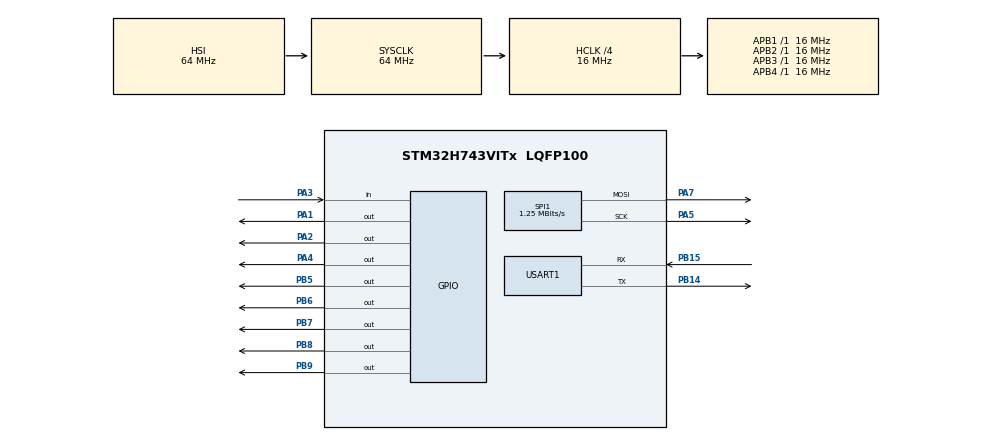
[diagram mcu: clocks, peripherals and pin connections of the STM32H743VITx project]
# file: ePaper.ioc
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CORTEX_M7.default_mode_Activation=1
Mcu.Family=STM32H7
Mcu.Name=STM32H743VITx
Mcu.Package=LQFP100
NVIC.PriorityGroup=NVIC_PRIORITYGROUP_4
PA1.Signal=GPIO_Output
PA2.Signal=GPIO_Output
PA3.Signal=GPIO_Input
PA4.Signal=GPIO_Output
PA5.Mode=TX_Only_Simplex_Unidirect_Master
PA5.Signal=SPI1_SCK
PA7.Mode=TX_Only_Simplex_Unidirect_Master
PA7.Signal=SPI1_MOSI
PB14.Mode=Asynchronous
PB14.Signal=USART1_TX
PB15.Mode=Asynchronous
PB15.Signal=USART1_RX
PB5.Signal=GPIO_Output
PB6.Signal=GPIO_Output
PB7.Signal=GPIO_Output
PB8.Signal=GPIO_Output
PB9.Signal=GPIO_Output
ProjectManager.HeapSize=0x200
ProjectManager.StackSize=0x400
ProjectManager.TargetToolchain=STM32CubeIDE
RCC.ADCFreq_Value=129000000
RCC.APB1Freq_Value=16000000
RCC.APB2Freq_Value=16000000
RCC.APB3Freq_Value=16000000
RCC.APB4Freq_Value=16000000
RCC.CortexFreq_Value=16000000
RCC.D1CPRE=RCC_SYSCLK_DIV4
RCC.DIVM1=4
RCC.DIVN1=10
RCC.HCLKFreq_Value=16000000
RCC.PLL1_VCI_Range=RCC_PLL1VCIRANGE_3
RCC.PLLFRACN=0
RCC.PREFETCH_ENABLE=1
RCC.SYSCLKFreq_VALUE=64000000
RCC.USBFreq_Value=80000000
SPI1.BaudRatePrescaler=SPI_BAUDRATEPRESCALER_64
SPI1.CalculateBaudRate=1.25 MBits/s
SPI1.DataSize=SPI_DATASIZE_8BIT
SPI1.Direction=SPI_DIRECTION_2LINES_TXONLY
SPI1.Mode=SPI_MODE_MASTER
SPI1.VirtualType=VM_MASTER
USART1.VirtualMode-Asynchronous=VM_ASYNC
VP_MEMORYMAP_VS_MEMORYMAP.Mode=CurAppReg
board=custom

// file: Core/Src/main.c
/* USER CODE BEGIN Header */
/**
  ******************************************************************************
  * @file           : main.c
  * @brief          : Main program body
  ******************************************************************************
  * @attention
  *
  * Copyright (c) 2024 STMicroelectronics.
  * All rights reserved.
  *
  * This software is licensed under terms that can be found in the LICENSE file
  * in the root directory of this software component.
  * If no LICENSE file comes with this software, it is provided AS-IS.
  *
  ******************************************************************************
  */
/* USER CODE END Header */
#include "main.h"

/* USER CODE BEGIN Includes */
#include "../User/gfx.h"
#include <stdio.h>

/* USER CODE END Includes */

SPI_HandleTypeDef hspi1;

UART_HandleTypeDef huart1;

void SystemClock_Config(void);
static void MPU_Config(void);
static void MX_GPIO_Init(void);
static void MX_SPI1_Init(void);
static void MX_USART1_UART_Init(void);

int main(void)
{

  /* MPU Configuration--------------------------------------------------------*/
  MPU_Config();

  /* MCU Configuration--------------------------------------------------------*/

  /* Reset of all peripherals, Initializes the Flash interface and the Systick. */
  HAL_Init();

  /* Configure the system clock */
  SystemClock_Config();

  /* Initialize all configured peripherals */
  MX_GPIO_Init();
  MX_SPI1_Init();
  MX_USART1_UART_Init();
  /* USER CODE BEGIN 2 */
  printf("\n\n\n\n---------------\r\nHello World\r\n");

  gfx_init(448, 600);
  gfx_clear();
  test();
  displayFrame();
  printf("Displayed frame\r\n");

  HAL_GPIO_TogglePin(GPIOB, GPIO_PIN_7);
  HAL_Delay(1000);
  HAL_GPIO_TogglePin(GPIOB, GPIO_PIN_7);

  /* USER CODE END 2 */

  /* Infinite loop */
  /* USER CODE BEGIN WHILE */
  while (1) {
    int delay = 50;
    // Toggle LED on PB6
    HAL_GPIO_TogglePin(GPIOB, GPIO_PIN_6);
    HAL_Delay(delay); // 1 second delay

    // Toggle LED on PB8
    HAL_GPIO_TogglePin(GPIOB, GPIO_PIN_8);
    HAL_Delay(delay); // 1 second delay

    // Toggle LED on PB7
    HAL_GPIO_TogglePin(GPIOB, GPIO_PIN_7);
    HAL_Delay(delay); // 1 second delay

    // Toggle LED on PB9
    HAL_GPIO_TogglePin(GPIOB, GPIO_PIN_9);
    HAL_Delay(delay); // 1 second delay
    /* USER CODE END WHILE */

  }
}

void SystemClock_Config(void)
{
  RCC_OscInitTypeDef RCC_OscInitStruct = {0};
  RCC_ClkInitTypeDef RCC_ClkInitStruct = {0};

  /** Supply configuration update enable
  */
  HAL_PWREx_ConfigSupply(PWR_LDO_SUPPLY);

  /** Configure the main internal regulator output voltage
  */
  __HAL_PWR_VOLTAGESCALING_CONFIG(PWR_REGULATOR_VOLTAGE_SCALE3);

  while(!__HAL_PWR_GET_FLAG(PWR_FLAG_VOSRDY)) {}

  /** Initializes the RCC Oscillators according to the specified parameters
  * in the RCC_OscInitTypeDef structure.
  */
  RCC_OscInitStruct.OscillatorType = RCC_OSCILLATORTYPE_HSI;
  RCC_OscInitStruct.HSIState = RCC_HSI_DIV1;
  RCC_OscInitStruct.HSICalibrationValue = RCC_HSICALIBRATION_DEFAULT;
  RCC_OscInitStruct.PLL.PLLState = RCC_PLL_ON;
  RCC_OscInitStruct.PLL.PLLSource = RCC_PLLSOURCE_HSI;
  RCC_OscInitStruct.PLL.PLLM = 4;
  RCC_OscInitStruct.PLL.PLLN = 10;
  RCC_OscInitStruct.PLL.PLLP = 2;
  RCC_OscInitStruct.PLL.PLLQ = 2;
  RCC_OscInitStruct.PLL.PLLR = 2;
  RCC_OscInitStruct.PLL.PLLRGE = RCC_PLL1VCIRANGE_3;
  RCC_OscInitStruct.PLL.PLLVCOSEL = RCC_PLL1VCOMEDIUM;
  RCC_OscInitStruct.PLL.PLLFRACN = 0;
  if (HAL_RCC_OscConfig(&RCC_OscInitStruct) != HAL_OK)
  {
    Error_Handler();
  }

  /** Initializes the CPU, AHB and APB buses clocks
  */
  RCC_ClkInitStruct.ClockType = RCC_CLOCKTYPE_HCLK|RCC_CLOCKTYPE_SYSCLK
                              |RCC_CLOCKTYPE_PCLK1|RCC_CLOCKTYPE_PCLK2
                              |RCC_CLOCKTYPE_D3PCLK1|RCC_CLOCKTYPE_D1PCLK1;
  RCC_ClkInitStruct.SYSCLKSource = RCC_SYSCLKSOURCE_HSI;
  RCC_ClkInitStruct.SYSCLKDivider = RCC_SYSCLK_DIV4;
  RCC_ClkInitStruct.AHBCLKDivider = RCC_HCLK_DIV1;
  RCC_ClkInitStruct.APB3CLKDivider = RCC_APB3_DIV1;
  RCC_ClkInitStruct.APB1CLKDivider = RCC_APB1_DIV1;
  RCC_ClkInitStruct.APB2CLKDivider = RCC_APB2_DIV1;
  RCC_ClkInitStruct.APB4CLKDivider = RCC_APB4_DIV1;

  if (HAL_RCC_ClockConfig(&RCC_ClkInitStruct, FLASH_LATENCY_0) != HAL_OK)
  {
    Error_Handler();
  }
}

static void MX_SPI1_Init(void)
{

  /* SPI1 parameter configuration*/
  hspi1.Instance = SPI1;
  hspi1.Init.Mode = SPI_MODE_MASTER;
  hspi1.Init.Direction = SPI_DIRECTION_2LINES_TXONLY;
  hspi1.Init.DataSize = SPI_DATASIZE_8BIT;
  hspi1.Init.CLKPolarity = SPI_POLARITY_LOW;
  hspi1.Init.CLKPhase = SPI_PHASE_1EDGE;
  hspi1.Init.NSS = SPI_NSS_SOFT;
  hspi1.Init.BaudRatePrescaler = SPI_BAUDRATEPRESCALER_64;
  hspi1.Init.FirstBit = SPI_FIRSTBIT_MSB;
  hspi1.Init.TIMode = SPI_TIMODE_DISABLE;
  hspi1.Init.CRCCalculation = SPI_CRCCALCULATION_DISABLE;
  hspi1.Init.CRCPolynomial = 0x0;
  hspi1.Init.NSSPMode = SPI_NSS_PULSE_ENABLE;
  hspi1.Init.NSSPolarity = SPI_NSS_POLARITY_LOW;
  hspi1.Init.FifoThreshold = SPI_FIFO_THRESHOLD_01DATA;
  hspi1.Init.TxCRCInitializationPattern = SPI_CRC_INITIALIZATION_ALL_ZERO_PATTERN;
  hspi1.Init.RxCRCInitializationPattern = SPI_CRC_INITIALIZATION_ALL_ZERO_PATTERN;
  hspi1.Init.MasterSSIdleness = SPI_MASTER_SS_IDLENESS_00CYCLE;
  hspi1.Init.MasterInterDataIdleness = SPI_MASTER_INTERDATA_IDLENESS_00CYCLE;
  hspi1.Init.MasterReceiverAutoSusp = SPI_MASTER_RX_AUTOSUSP_DISABLE;
  hspi1.Init.MasterKeepIOState = SPI_MASTER_KEEP_IO_STATE_DISABLE;
  hspi1.Init.IOSwap = SPI_IO_SWAP_DISABLE;
  if (HAL_SPI_Init(&hspi1) != HAL_OK)
  {
    Error_Handler();
  }

}

static void MX_USART1_UART_Init(void)
{

  huart1.Instance = USART1;
  huart1.Init.BaudRate = 115200;
  huart1.Init.WordLength = UART_WORDLENGTH_8B;
  huart1.Init.StopBits = UART_STOPBITS_1;
  huart1.Init.Parity = UART_PARITY_NONE;
  huart1.Init.Mode = UART_MODE_TX_RX;
  huart1.Init.HwFlowCtl = UART_HWCONTROL_NONE;
  huart1.Init.OverSampling = UART_OVERSAMPLING_16;
  huart1.Init.OneBitSampling = UART_ONE_BIT_SAMPLE_DISABLE;
  huart1.Init.ClockPrescaler = UART_PRESCALER_DIV1;
  huart1.AdvancedInit.AdvFeatureInit = UART_ADVFEATURE_NO_INIT;
  if (HAL_UART_Init(&huart1) != HAL_OK)
  {
    Error_Handler();
  }
  if (HAL_UARTEx_SetTxFifoThreshold(&huart1, UART_TXFIFO_THRESHOLD_1_8) != HAL_OK)
  {
    Error_Handler();
  }
  if (HAL_UARTEx_SetRxFifoThreshold(&huart1, UART_RXFIFO_THRESHOLD_1_8) != HAL_OK)
  {
    Error_Handler();
  }
  if (HAL_UARTEx_DisableFifoMode(&huart1) != HAL_OK)
  {
    Error_Handler();
  }

}

static void MX_GPIO_Init(void)
{
  GPIO_InitTypeDef GPIO_InitStruct = {0};

  /* GPIO Ports Clock Enable */
  __HAL_RCC_GPIOA_CLK_ENABLE();
  __HAL_RCC_GPIOB_CLK_ENABLE();

  /*Configure GPIO pin Output Level */
  HAL_GPIO_WritePin(GPIOA, GPIO_PIN_1|GPIO_PIN_2|GPIO_PIN_4, GPIO_PIN_RESET);

  /*Configure GPIO pin Output Level */
  HAL_GPIO_WritePin(GPIOB, GPIO_PIN_5|GPIO_PIN_6|GPIO_PIN_7|GPIO_PIN_8
                          |GPIO_PIN_9, GPIO_PIN_RESET);

  /*Configure GPIO pins : PA1 PA2 PA4 */
  GPIO_InitStruct.Pin = GPIO_PIN_1|GPIO_PIN_2|GPIO_PIN_4;
  GPIO_InitStruct.Mode = GPIO_MODE_OUTPUT_PP;
  GPIO_InitStruct.Pull = GPIO_NOPULL;
  GPIO_InitStruct.Speed = GPIO_SPEED_FREQ_LOW;
  HAL_GPIO_Init(GPIOA, &GPIO_InitStruct);

  /*Configure GPIO pin : PA3 */
  GPIO_InitStruct.Pin = GPIO_PIN_3;
  GPIO_InitStruct.Mode = GPIO_MODE_INPUT;
  GPIO_InitStruct.Pull = GPIO_NOPULL;
  HAL_GPIO_Init(GPIOA, &GPIO_InitStruct);

  /*Configure GPIO pins : PB5 PB6 PB7 PB8
                           PB9 */
  GPIO_InitStruct.Pin = GPIO_PIN_5|GPIO_PIN_6|GPIO_PIN_7|GPIO_PIN_8
                          |GPIO_PIN_9;
  GPIO_InitStruct.Mode = GPIO_MODE_OUTPUT_PP;
  GPIO_InitStruct.Pull = GPIO_NOPULL;
  GPIO_InitStruct.Speed = GPIO_SPEED_FREQ_LOW;
  HAL_GPIO_Init(GPIOB, &GPIO_InitStruct);

}

 /* MPU Configuration */

void MPU_Config(void)
{
  MPU_Region_InitTypeDef MPU_InitStruct = {0};

  /* Disables the MPU */
  HAL_MPU_Disable();

  /** Initializes and configures the Region and the memory to be protected
  */
  MPU_InitStruct.Enable = MPU_REGION_ENABLE;
  MPU_InitStruct.Number = MPU_REGION_NUMBER0;
  MPU_InitStruct.BaseAddress = 0x0;
  MPU_InitStruct.Size = MPU_REGION_SIZE_4GB;
  MPU_InitStruct.SubRegionDisable = 0x87;
  MPU_InitStruct.TypeExtField = MPU_TEX_LEVEL0;
  MPU_InitStruct.AccessPermission = MPU_REGION_NO_ACCESS;
  MPU_InitStruct.DisableExec = MPU_INSTRUCTION_ACCESS_DISABLE;
  MPU_InitStruct.IsShareable = MPU_ACCESS_SHAREABLE;
  MPU_InitStruct.IsCacheable = MPU_ACCESS_NOT_CACHEABLE;
  MPU_InitStruct.IsBufferable = MPU_ACCESS_NOT_BUFFERABLE;

  HAL_MPU_ConfigRegion(&MPU_InitStruct);
  /* Enables the MPU */
  HAL_MPU_Enable(MPU_PRIVILEGED_DEFAULT);

}

void Error_Handler(void)
{
  __disable_irq();
  while (1)
  {
  }
}
